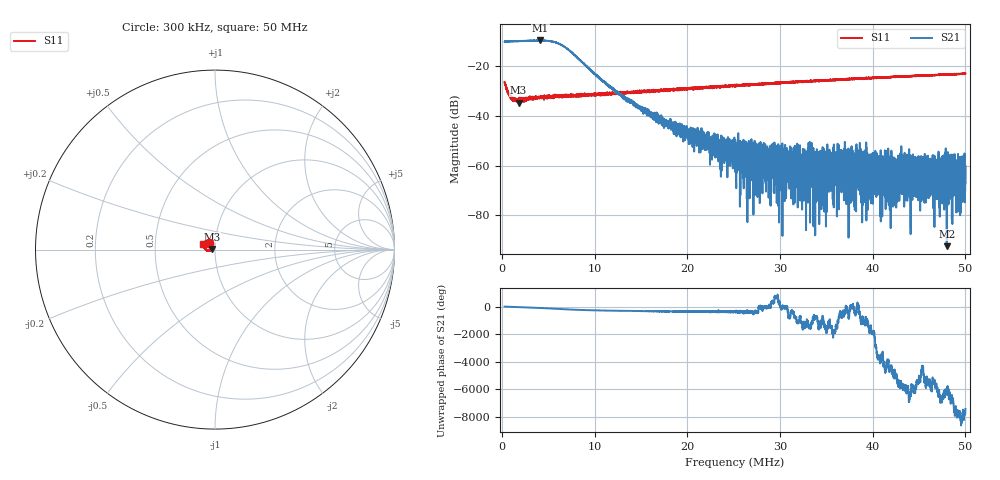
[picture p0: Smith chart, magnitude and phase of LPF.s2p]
!Agilent Technologies,N5230A,MY45001891,A.06.04.21
!Agilent N5230A: A.06.04.21
!Date: Friday, January 01, 1988 06:45:04
!Correction: S11(Off) S21(Off) S12(Off) S22(Off)
!S2P File: Measurements: S11, S21, S12, S22:
# Hz S  dB  R 50
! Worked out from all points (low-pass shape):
!   6401 points, 300 kHz to 50 MHz, reference 50 ohm
!   highest |S21| = -9.59 dB at 4.16 MHz (marker M1); lowest = -92.4 dB at 47.99 MHz (marker M2)
!   |S21| within 3 dB of the highest: start of sweep to 6.925 MHz
!   lowest |S11| = -34.7 dB at 1.807 MHz (marker M3), VSWR 1.04, Z = 48.2 + j0.294 ohm
!   |S11| at or under -10 dB: start of sweep to end of sweep
!   S12 and S22 are empty: the file has one direction only
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300000  -26.27 135.1  -10.10 -4.5  -679.73 90.0  -682.46 90.0
1029969  -33.15 145.4  -9.93 -23.7  -679.73 90.0  -682.46 90.0
1806531  -34.65 170.5  -9.92 -42.7  -679.73 90.0  -682.46 90.0
4159516  -32.78 179.0  -9.59 -106.3  -679.73 90.0  -682.46 90.0
6007734  -31.89 178.4  -10.67 -168.3  -679.73 90.0  -682.46 90.0
8585922  -31.30 -176.1  -18.14 111.1  -679.73 90.0  -682.46 90.0
1.687184e7  -29.46 -169.0  -42.15 16.1  -679.73 90.0  -682.46 90.0
2.515e7  -27.91 -172.2  -52.08 -48.5  -679.73 90.0  -682.46 90.0
2.931238e7  -26.77 -175.2  -59.59 -96.5  -679.73 90.0  -682.46 90.0
2.990256e7  -26.69 -177.9  -82.87 -96.0  -679.73 90.0  -682.46 90.0
3.343592e7  -26.12 178.6  -63.36 17.9  -679.73 90.0  -682.46 90.0
3.462406e7  -25.65 177.1  -61.03 36.9  -679.73 90.0  -682.46 90.0
3.533073e7  -25.60 178.0  -70.36 -17.7  -679.73 90.0  -682.46 90.0
3.555594e7  -25.37 176.7  -63.50 -66.0  -679.73 90.0  -682.46 90.0
3.741969e7  -25.04 173.8  -64.04 175.9  -679.73 90.0  -682.46 90.0
3.836709e7  -25.09 173.5  -62.82 129.4  -679.73 90.0  -682.46 90.0
3.887186e7  -24.84 171.6  -59.22 -153.3  -679.73 90.0  -682.46 90.0
4.009883e7  -24.54 168.2  -54.91 -55.4  -679.73 90.0  -682.46 90.0
4.172184e7  -24.39 165.8  -58.58 -101.0  -679.73 90.0  -682.46 90.0
4.79887e7  -23.26 155.5  -92.39 -150.0  -679.73 90.0  -682.46 90.0
4.9503e7  -23.06 153.3  -73.59 43.5  -679.73 90.0  -682.46 90.0
5e7  -22.90 153.8  -67.16 111.0  -679.73 90.0  -682.46 90.0
